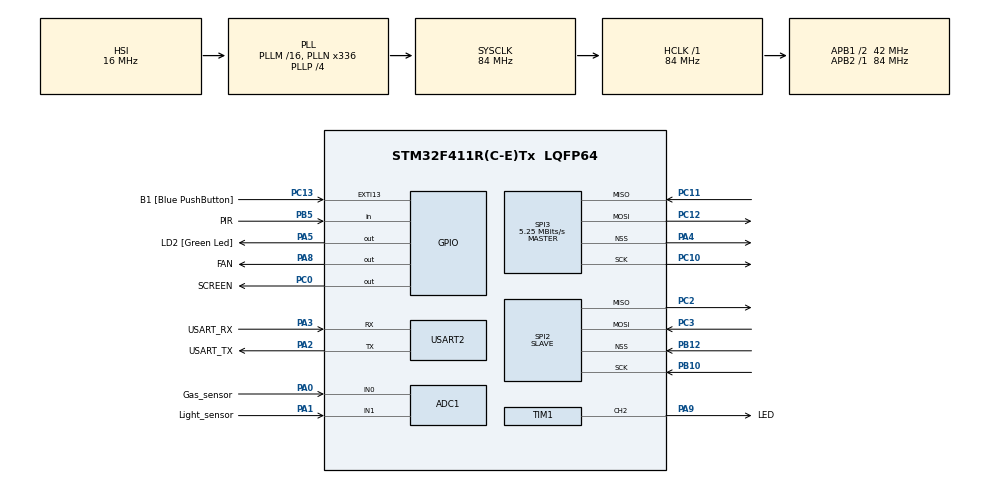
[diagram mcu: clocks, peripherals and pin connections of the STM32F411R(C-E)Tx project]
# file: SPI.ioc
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ADC1.Channel-0\#ChannelRegularConversion=ADC_CHANNEL_0
ADC1.Channel-1\#ChannelRegularConversion=ADC_CHANNEL_1
ADC1.DiscontinuousConvMode=ENABLE
ADC1.NbrOfConversion=2
ADC1.NbrOfConversionFlag=1
ADC1.Rank-0\#ChannelRegularConversion=1
ADC1.Rank-1\#ChannelRegularConversion=2
ADC1.SamplingTime-0\#ChannelRegularConversion=ADC_SAMPLETIME_3CYCLES
ADC1.SamplingTime-1\#ChannelRegularConversion=ADC_SAMPLETIME_3CYCLES
ADC1.ScanConvMode=ENABLE
ADC1.master=1
Mcu.Family=STM32F4
Mcu.Name=STM32F411R(C-E)Tx
Mcu.Package=LQFP64
NVIC.ADC_IRQn=true\:0\:0\:false\:false\:true\:true\:true\:true
NVIC.EXTI15_10_IRQn=true\:0\:0\:false\:false\:true\:true\:true\:true
NVIC.PriorityGroup=NVIC_PRIORITYGROUP_0
NVIC.SPI2_IRQn=true\:0\:0\:false\:false\:true\:true\:true\:true
NVIC.SPI3_IRQn=true\:0\:0\:false\:false\:true\:true\:true\:true
NVIC.TIM3_IRQn=true\:0\:0\:false\:false\:true\:true\:true\:true
NVIC.USART2_IRQn=true\:0\:0\:false\:false\:true\:true\:true\:true
PA0-WKUP.GPIO_Label=Gas_sensor
PA0-WKUP.Signal=ADCx_IN0
PA1.GPIO_Label=Light_sensor
PA1.Signal=ADCx_IN1
PA13.GPIO_Label=TMS
PA13.Mode=Serial_Wire
PA13.Signal=SYS_JTMS-SWDIO
PA14.GPIO_Label=TCK
PA14.Mode=Serial_Wire
PA14.Signal=SYS_JTCK-SWCLK
PA2.GPIO_Label=USART_TX
PA2.Mode=Asynchronous
PA2.Signal=USART2_TX
PA3.GPIO_Label=USART_RX
PA3.Mode=Asynchronous
PA3.Signal=USART2_RX
PA4.Mode=NSS_Signal_Hard_Output
PA4.Signal=SPI3_NSS
PA5.GPIO_Label=LD2 [Green Led]
PA5.Signal=GPIO_Output
PA8.GPIO_Label=FAN
PA8.Signal=GPIO_Output
PA9.GPIO_Label=LED
PA9.Signal=S_TIM1_CH2
PB10.Mode=Full_Duplex_Slave
PB10.Signal=SPI2_SCK
PB12.Mode=NSS_Signal_Hard_Input
PB12.Signal=SPI2_NSS
PB3.GPIO_Label=SWO
PB3.Signal=SYS_JTDO-SWO
PB5.GPIO_Label=PIR
PB5.GPIO_PuPd=GPIO_NOPULL
PB5.Signal=GPIO_Input
PC0.GPIO_Label=SCREEN
PC0.Signal=GPIO_Output
PC10.Mode=Full_Duplex_Master
PC10.Signal=SPI3_SCK
PC11.Mode=Full_Duplex_Master
PC11.Signal=SPI3_MISO
PC12.Mode=Full_Duplex_Master
PC12.Signal=SPI3_MOSI
PC13-ANTI_TAMP.GPIO_Label=B1 [Blue PushButton]
PC13-ANTI_TAMP.GPIO_ModeDefaultEXTI=GPIO_MODE_IT_FALLING
PC13-ANTI_TAMP.Signal=GPXTI13
PC14-OSC32_IN.Mode=LSE-External-Oscillator
PC14-OSC32_IN.Signal=RCC_OSC32_IN
PC15-OSC32_OUT.Mode=LSE-External-Oscillator
PC15-OSC32_OUT.Signal=RCC_OSC32_OUT
PC2.Mode=Full_Duplex_Slave
PC2.Signal=SPI2_MISO
PC3.Mode=Full_Duplex_Slave
PC3.Signal=SPI2_MOSI
PH0\ -\ OSC_IN.Mode=HSE-External-Clock-Source
PH0\ -\ OSC_IN.Signal=RCC_OSC_IN
PH1\ -\ OSC_OUT.Mode=HSE-External-Clock-Source
PH1\ -\ OSC_OUT.Signal=RCC_OSC_OUT
ProjectManager.HeapSize=0x200
ProjectManager.StackSize=0x400
ProjectManager.TargetToolchain=STM32CubeIDE
RCC.48MHZClocksFreq_Value=84000000
RCC.AHBFreq_Value=84000000
RCC.APB1CLKDivider=RCC_HCLK_DIV2
RCC.APB1Freq_Value=42000000
RCC.APB1TimFreq_Value=84000000
RCC.APB2Freq_Value=84000000
RCC.APB2TimFreq_Value=84000000
RCC.CortexFreq_Value=84000000
RCC.FLatency-AdvancedSettings=FLASH_LATENCY_2
RCC.HCLKFreq_Value=84000000
RCC.HSE_VALUE=8000000
RCC.HSI_VALUE=16000000
RCC.PLLN=336
RCC.PLLP=RCC_PLLP_DIV4
RCC.SYSCLKFreq_VALUE=84000000
RCC.SYSCLKSource=RCC_SYSCLKSOURCE_PLLCLK
RCC.VCOOutputFreq_Value=336000000
SH.ADCx_IN0.0=ADC1_IN0,IN0
SH.ADCx_IN1.0=ADC1_IN1,IN1
SH.S_TIM1_CH2.0=TIM1_CH2,PWM Generation2 CH2
SPI2.CLKPhase=SPI_PHASE_2EDGE
SPI2.Direction=SPI_DIRECTION_2LINES
SPI2.Mode=SPI_MODE_SLAVE
SPI2.TIMode=SPI_TIMODE_DISABLE
SPI2.VirtualNSS=VM_NSSHARD
SPI2.VirtualType=VM_SLAVE
SPI3.BaudRatePrescaler=SPI_BAUDRATEPRESCALER_8
SPI3.CLKPhase=SPI_PHASE_2EDGE
SPI3.CalculateBaudRate=5.25 MBits/s
SPI3.Direction=SPI_DIRECTION_2LINES
SPI3.Mode=SPI_MODE_MASTER
SPI3.VirtualNSS=VM_NSSHARD
SPI3.VirtualType=VM_MASTER
TIM1.Channel-PWM\ Generation2\ CH2=TIM_CHANNEL_2
TIM1.Period=(10000/50)-1
TIM1.Prescaler=8400-1
TIM3.Period=2000-1
TIM3.Prescaler=8400-1
USART2.VirtualMode=VM_ASYNC
VP_TIM3_VS_ClockSourceINT.Mode=Internal
board=NUCLEO-F411RE

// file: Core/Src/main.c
/* USER CODE BEGIN Header */
/**
  ******************************************************************************
  * @file           : main.c
  * @brief          : Main program body
  ******************************************************************************
  * @attention
  *
  * Copyright (c) 2024 STMicroelectronics.
  * All rights reserved.
  *
  * This software is licensed under terms that can be found in the LICENSE file
  * in the root directory of this software component.
  * If no LICENSE file comes with this software, it is provided AS-IS.
  *
  ******************************************************************************
  */
/* USER CODE END Header */
#include "main.h"

ADC_HandleTypeDef hadc1;

SPI_HandleTypeDef hspi2;
SPI_HandleTypeDef hspi3;

TIM_HandleTypeDef htim1;
TIM_HandleTypeDef htim3;

UART_HandleTypeDef huart2;

/* USER CODE BEGIN PV */
char uart_buf[60];
uint16_t adcVal[2];
uint16_t Val;
//char uart_buf2[50];
int val = 0;
int led_val = 0;
int idx;
int dr = 0;
/* USER CODE END PV */

void SystemClock_Config(void);
static void MX_GPIO_Init(void);
static void MX_USART2_UART_Init(void);
static void MX_SPI2_Init(void);
static void MX_SPI3_Init(void);
static void MX_ADC1_Init(void);
static void MX_TIM3_Init(void);
static void MX_TIM1_Init(void);

/* USER CODE BEGIN 0 */
uint8_t TxData=0;
uint8_t RxDataBuf = 0;
uint8_t RxData=0;
uint8_t gas=0;
uint8_t light=0;
int cnt = 0;
//void HAL_SPI_RxCpltCallback(SPI_HandleTypeDef *hspi)
//{
//	RxDataBuf = RxData;
//	RxData = 0;
//	snprintf(uart_buf, sizeof(uart_buf), "get_data : %x, send_data : %x \n\r", RxDataBuf, TxData);
//	HAL_UART_Transmit(&huart2, (uint8_t *)uart_buf, strlen(uart_buf), 1000);
//	HAL_SPI_Receive_IT(&hspi2, &RxData, 1);
//
//}
//void HAL_SPI_TxCpltCallback(SPI_HandleTypeDef *hspi)
//{
//	//RxData = RxData + 7;
//	snprintf(uart_buf, sizeof(uart_buf), "get_data : %x, send_data : %x \n\r", RxData, TxData);
//	HAL_UART_Transmit(&huart2, (uint8_t *)uart_buf, strlen(uart_buf), 1000);
//	HAL_SPI_Transmit_IT(&hspi2, &TxData, 1);
//}

void HAL_SPI_TxRxCpltCallback(SPI_HandleTypeDef *hspi)
{
	//RxData = RxData + 7;
//	snprintf(uart_buf, sizeof(uart_buf), "get_data : %x, send_data : %x \n\r", RxData, TxData);
//	HAL_UART_Transmit(&huart2, (uint8_t *)uart_buf, strlen(uart_buf), 1000);
	HAL_SPI_TransmitReceive_IT(&hspi2, &TxData, &RxData,1);
	dr = (RxData >> 4);
	htim1.Instance->CCR2 = dr * 10; // dr : 0 ~ 9,  10 ~ 19
	FAN_motor();
	Screen();
//	TxData++;
}

void HAL_ADC_ConvCpltCallback(ADC_HandleTypeDef *hadc)
{
	if(hadc->Instance == hadc1.Instance) {

		Val = HAL_ADC_GetValue(&hadc1);
		if(idx == 0)
		{
			adcVal[0] = Val;
		}
		else
		{
			adcVal[1] = Val;
		}
		gas = (adcVal[0] > 3600) ? 7 : (adcVal[0] < 1200) ? 0 :(((adcVal[0] - 400) / 400) - 1);
		light = (adcVal[1] > 3000) ? 0 : (adcVal[1] > 1500) ? (15 - (((adcVal[1] - 1500) / 100))) : 15;
		TxData =  (light << 4) + (gas << 1) + val;

		if(++idx == 2) idx = 0;
	}
}

void HAL_TIM_PeriodElapsedCallback(TIM_HandleTypeDef *htim)
{
	HAL_ADC_Start_IT(&hadc1);
}

//void PIR_sensor()
//{
//	val = HAL_GPIO_ReadPin(PIR_GPIO_Port, PIR_Pin);
//	if(val == 1) // No detected
//	{
//		snprintf(uart_buf2, sizeof(uart_buf2), "No Detected : %d\n\r", val);
//		HAL_UART_Transmit_IT(&huart2, (uint8_t *)uart_buf2, strlen(uart_buf2));
//	}
//	else // Something Detected
//	{
//		snprintf(uart_buf2, sizeof(uart_buf2), "Something Detected : %d\n\r", val);
//		HAL_UART_Transmit_IT(&huart2, (uint8_t *)uart_buf2, strlen(uart_buf2));
//	}
//}

void FAN_motor()
{
	if((RxData & 0b00000001))
	{
		HAL_GPIO_WritePin(FAN_GPIO_Port, FAN_Pin, 1);
	}
	else
	{
		HAL_GPIO_WritePin(FAN_GPIO_Port, FAN_Pin, 0);
	}
}

void Screen()
{
	if((RxData & 0b00000010))
	{
		HAL_GPIO_WritePin(SCREEN_GPIO_Port, SCREEN_Pin , 1);
	}
	else
	{
		HAL_GPIO_WritePin(SCREEN_GPIO_Port, SCREEN_Pin , 0);
	}
}

/* USER CODE END 0 */

int main(void)
{

  /* MCU Configuration--------------------------------------------------------*/

  /* Reset of all peripherals, Initializes the Flash interface and the Systick. */
  HAL_Init();

  /* Configure the system clock */
  SystemClock_Config();

  /* Initialize all configured peripherals */
  MX_GPIO_Init();
  MX_USART2_UART_Init();
  MX_SPI2_Init();
  MX_SPI3_Init();
  MX_ADC1_Init();
  MX_TIM3_Init();
  MX_TIM1_Init();
  /* USER CODE BEGIN 2 */

  char test_data[50] = "1234567";
  char get_data[50];
  /* USER CODE END 2 */

  /* Infinite loop */
  /* USER CODE BEGIN WHILE */
  ProgramStart("SPI");
  //HAL_SPI_Receive_IT(&hspi2, &RxData, 1);
//  HAL_SPI_Transmit_IT(&hspi2, &TxData, 1);
  HAL_SPI_TransmitReceive_IT(&hspi2, &TxData, &RxData,1);
//  HAL_GPIO_WritePin(FAN_GPIO_Port, FAN_Pin, 0);
  HAL_TIM_Base_Start_IT(&htim3);
  HAL_TIM_PWM_Start(&htim1, TIM_CHANNEL_2);
//  TxData = 0xaa;
  while (1)
  {
    /* USER CODE END WHILE */

    /* USER CODE BEGIN 3 */
	  //TxData = TxData +1;
//	  HAL_SPI_Transmit(&hspi2, &TxData, 1, 10);

	  //HAL_SPI_Receive(&hspi2, &RxData, 1, 10);
//	  HAL_SPI_TransmitReceive(&hspi2, &TxData, &RxData, (uint16_t)1, (uint32_t) 10);
	  //snprintf(uart_buf2, sizeof(uart_buf2), "No Detected : %d\n\r", val);
	  //HAL_UART_Transmit_IT(&huart2, (uint8_t *)uart_buf2, strlen(uart_buf2));
	  //HAL_SPI_Transmit(&hspi3, &TxData, 1,10);
//	  dr = (RxData >> 4);
//	  htim1.Instance->CCR2 = dr + 10; // dr : 0 ~ 9,  10 ~ 19
//	  int sa = dr * 18; //Servo Angle

	  val = HAL_GPIO_ReadPin(PIR_GPIO_Port, PIR_Pin);
	  led_val = HAL_GPIO_ReadPin(SCREEN_GPIO_Port, SCREEN_Pin);
	  if (cnt++ >= 10)
	  {
		  snprintf(uart_buf, sizeof(uart_buf), "get_data : %02x, send_data : %02x \n\r", RxData, TxData);
		  HAL_UART_Transmit(&huart2, (uint8_t *)uart_buf, strlen(uart_buf), 1000);
		  snprintf(uart_buf, sizeof(uart_buf), "Light : %d,  Gas : %01x,  PIR : %01x \n\r", light, gas, val);
		  HAL_UART_Transmit(&huart2, (uint8_t *)uart_buf, strlen(uart_buf), 1000);
		  snprintf(uart_buf, sizeof(uart_buf), "Light Detected : %d  Gas Detected : %d,\n\r", adcVal[1], adcVal[0]);
		  HAL_UART_Transmit(&huart2, (uint8_t *)uart_buf, strlen(uart_buf), 1000);
		  snprintf(uart_buf, sizeof(uart_buf), "LED : %d, Fan : %d, SCREEN : %d\n\r",dr , (RxData & 0b00000001), led_val);
		  HAL_UART_Transmit(&huart2, (uint8_t *)uart_buf, strlen(uart_buf), 1000);
		  cnt = 0;
	  }
	  //snprintf(uart_buf, sizeof(uart_buf), "get_data : %b, send_data : %b \n\r", get_data, test_data);
	  //HAL_Delay(4000);
	  //HAL_Delay(300);

//	  FAN_motor();
//	  PIR_sensor();
//	  Screen();
	  HAL_Delay(100);

  }

  /* USER CODE END 3 */
}

void SystemClock_Config(void)
{
  RCC_OscInitTypeDef RCC_OscInitStruct = {0};
  RCC_ClkInitTypeDef RCC_ClkInitStruct = {0};

  /** Configure the main internal regulator output voltage
  */
  __HAL_RCC_PWR_CLK_ENABLE();
  __HAL_PWR_VOLTAGESCALING_CONFIG(PWR_REGULATOR_VOLTAGE_SCALE1);

  /** Initializes the RCC Oscillators according to the specified parameters
  * in the RCC_OscInitTypeDef structure.
  */
  RCC_OscInitStruct.OscillatorType = RCC_OSCILLATORTYPE_HSI;
  RCC_OscInitStruct.HSIState = RCC_HSI_ON;
  RCC_OscInitStruct.HSICalibrationValue = RCC_HSICALIBRATION_DEFAULT;
  RCC_OscInitStruct.PLL.PLLState = RCC_PLL_ON;
  RCC_OscInitStruct.PLL.PLLSource = RCC_PLLSOURCE_HSI;
  RCC_OscInitStruct.PLL.PLLM = 16;
  RCC_OscInitStruct.PLL.PLLN = 336;
  RCC_OscInitStruct.PLL.PLLP = RCC_PLLP_DIV4;
  RCC_OscInitStruct.PLL.PLLQ = 4;
  if (HAL_RCC_OscConfig(&RCC_OscInitStruct) != HAL_OK)
  {
    Error_Handler();
  }

  /** Initializes the CPU, AHB and APB buses clocks
  */
  RCC_ClkInitStruct.ClockType = RCC_CLOCKTYPE_HCLK|RCC_CLOCKTYPE_SYSCLK
                              |RCC_CLOCKTYPE_PCLK1|RCC_CLOCKTYPE_PCLK2;
  RCC_ClkInitStruct.SYSCLKSource = RCC_SYSCLKSOURCE_PLLCLK;
  RCC_ClkInitStruct.AHBCLKDivider = RCC_SYSCLK_DIV1;
  RCC_ClkInitStruct.APB1CLKDivider = RCC_HCLK_DIV2;
  RCC_ClkInitStruct.APB2CLKDivider = RCC_HCLK_DIV1;

  if (HAL_RCC_ClockConfig(&RCC_ClkInitStruct, FLASH_LATENCY_2) != HAL_OK)
  {
    Error_Handler();
  }
}

static void MX_ADC1_Init(void)
{

  ADC_ChannelConfTypeDef sConfig = {0};

  /** Configure the global features of the ADC (Clock, Resolution, Data Alignment and number of conversion)
  */
  hadc1.Instance = ADC1;
  hadc1.Init.ClockPrescaler = ADC_CLOCK_SYNC_PCLK_DIV4;
  hadc1.Init.Resolution = ADC_RESOLUTION_12B;
  hadc1.Init.ScanConvMode = ENABLE;
  hadc1.Init.ContinuousConvMode = DISABLE;
  hadc1.Init.DiscontinuousConvMode = ENABLE;
  hadc1.Init.NbrOfDiscConversion = 1;
  hadc1.Init.ExternalTrigConvEdge = ADC_EXTERNALTRIGCONVEDGE_NONE;
  hadc1.Init.ExternalTrigConv = ADC_SOFTWARE_START;
  hadc1.Init.DataAlign = ADC_DATAALIGN_RIGHT;
  hadc1.Init.NbrOfConversion = 2;
  hadc1.Init.DMAContinuousRequests = DISABLE;
  hadc1.Init.EOCSelection = ADC_EOC_SINGLE_CONV;
  if (HAL_ADC_Init(&hadc1) != HAL_OK)
  {
    Error_Handler();
  }

  /** Configure for the selected ADC regular channel its corresponding rank in the sequencer and its sample time.
  */
  sConfig.Channel = ADC_CHANNEL_0;
  sConfig.Rank = 1;
  sConfig.SamplingTime = ADC_SAMPLETIME_3CYCLES;
  if (HAL_ADC_ConfigChannel(&hadc1, &sConfig) != HAL_OK)
  {
    Error_Handler();
  }

  /** Configure for the selected ADC regular channel its corresponding rank in the sequencer and its sample time.
  */
  sConfig.Channel = ADC_CHANNEL_1;
  sConfig.Rank = 2;
  if (HAL_ADC_ConfigChannel(&hadc1, &sConfig) != HAL_OK)
  {
    Error_Handler();
  }

}

static void MX_SPI2_Init(void)
{

  /* SPI2 parameter configuration*/
  hspi2.Instance = SPI2;
  hspi2.Init.Mode = SPI_MODE_SLAVE;
  hspi2.Init.Direction = SPI_DIRECTION_2LINES;
  hspi2.Init.DataSize = SPI_DATASIZE_8BIT;
  hspi2.Init.CLKPolarity = SPI_POLARITY_LOW;
  hspi2.Init.CLKPhase = SPI_PHASE_2EDGE;
  hspi2.Init.NSS = SPI_NSS_HARD_INPUT;
  hspi2.Init.FirstBit = SPI_FIRSTBIT_MSB;
  hspi2.Init.TIMode = SPI_TIMODE_DISABLE;
  hspi2.Init.CRCCalculation = SPI_CRCCALCULATION_DISABLE;
  hspi2.Init.CRCPolynomial = 10;
  if (HAL_SPI_Init(&hspi2) != HAL_OK)
  {
    Error_Handler();
  }

}

static void MX_SPI3_Init(void)
{

  /* SPI3 parameter configuration*/
  hspi3.Instance = SPI3;
  hspi3.Init.Mode = SPI_MODE_MASTER;
  hspi3.Init.Direction = SPI_DIRECTION_2LINES;
  hspi3.Init.DataSize = SPI_DATASIZE_8BIT;
  hspi3.Init.CLKPolarity = SPI_POLARITY_LOW;
  hspi3.Init.CLKPhase = SPI_PHASE_2EDGE;
  hspi3.Init.NSS = SPI_NSS_HARD_OUTPUT;
  hspi3.Init.BaudRatePrescaler = SPI_BAUDRATEPRESCALER_8;
  hspi3.Init.FirstBit = SPI_FIRSTBIT_MSB;
  hspi3.Init.TIMode = SPI_TIMODE_DISABLE;
  hspi3.Init.CRCCalculation = SPI_CRCCALCULATION_DISABLE;
  hspi3.Init.CRCPolynomial = 10;
  if (HAL_SPI_Init(&hspi3) != HAL_OK)
  {
    Error_Handler();
  }

}

static void MX_TIM1_Init(void)
{

  TIM_MasterConfigTypeDef sMasterConfig = {0};
  TIM_OC_InitTypeDef sConfigOC = {0};
  TIM_BreakDeadTimeConfigTypeDef sBreakDeadTimeConfig = {0};

  htim1.Instance = TIM1;
  htim1.Init.Prescaler = 8400-1;
  htim1.Init.CounterMode = TIM_COUNTERMODE_UP;
  htim1.Init.Period = (10000/50)-1;
  htim1.Init.ClockDivision = TIM_CLOCKDIVISION_DIV1;
  htim1.Init.RepetitionCounter = 0;
  htim1.Init.AutoReloadPreload = TIM_AUTORELOAD_PRELOAD_DISABLE;
  if (HAL_TIM_PWM_Init(&htim1) != HAL_OK)
  {
    Error_Handler();
  }
  sMasterConfig.MasterOutputTrigger = TIM_TRGO_RESET;
  sMasterConfig.MasterSlaveMode = TIM_MASTERSLAVEMODE_DISABLE;
  if (HAL_TIMEx_MasterConfigSynchronization(&htim1, &sMasterConfig) != HAL_OK)
  {
    Error_Handler();
  }
  sConfigOC.OCMode = TIM_OCMODE_PWM1;
  sConfigOC.Pulse = 0;
  sConfigOC.OCPolarity = TIM_OCPOLARITY_HIGH;
  sConfigOC.OCNPolarity = TIM_OCNPOLARITY_HIGH;
  sConfigOC.OCFastMode = TIM_OCFAST_DISABLE;
  sConfigOC.OCIdleState = TIM_OCIDLESTATE_RESET;
  sConfigOC.OCNIdleState = TIM_OCNIDLESTATE_RESET;
  if (HAL_TIM_PWM_ConfigChannel(&htim1, &sConfigOC, TIM_CHANNEL_2) != HAL_OK)
  {
    Error_Handler();
  }
  sBreakDeadTimeConfig.OffStateRunMode = TIM_OSSR_DISABLE;
  sBreakDeadTimeConfig.OffStateIDLEMode = TIM_OSSI_DISABLE;
  sBreakDeadTimeConfig.LockLevel = TIM_LOCKLEVEL_OFF;
  sBreakDeadTimeConfig.DeadTime = 0;
  sBreakDeadTimeConfig.BreakState = TIM_BREAK_DISABLE;
  sBreakDeadTimeConfig.BreakPolarity = TIM_BREAKPOLARITY_HIGH;
  sBreakDeadTimeConfig.AutomaticOutput = TIM_AUTOMATICOUTPUT_DISABLE;
  if (HAL_TIMEx_ConfigBreakDeadTime(&htim1, &sBreakDeadTimeConfig) != HAL_OK)
  {
    Error_Handler();
  }
  HAL_TIM_MspPostInit(&htim1);

}

static void MX_TIM3_Init(void)
{

  TIM_ClockConfigTypeDef sClockSourceConfig = {0};
  TIM_MasterConfigTypeDef sMasterConfig = {0};

  htim3.Instance = TIM3;
  htim3.Init.Prescaler = 8400-1;
  htim3.Init.CounterMode = TIM_COUNTERMODE_UP;
  htim3.Init.Period = 2000-1;
  htim3.Init.ClockDivision = TIM_CLOCKDIVISION_DIV1;
  htim3.Init.AutoReloadPreload = TIM_AUTORELOAD_PRELOAD_DISABLE;
  if (HAL_TIM_Base_Init(&htim3) != HAL_OK)
  {
    Error_Handler();
  }
  sClockSourceConfig.ClockSource = TIM_CLOCKSOURCE_INTERNAL;
  if (HAL_TIM_ConfigClockSource(&htim3, &sClockSourceConfig) != HAL_OK)
  {
    Error_Handler();
  }
  sMasterConfig.MasterOutputTrigger = TIM_TRGO_RESET;
  sMasterConfig.MasterSlaveMode = TIM_MASTERSLAVEMODE_DISABLE;
  if (HAL_TIMEx_MasterConfigSynchronization(&htim3, &sMasterConfig) != HAL_OK)
  {
    Error_Handler();
  }

}

static void MX_USART2_UART_Init(void)
{

  huart2.Instance = USART2;
  huart2.Init.BaudRate = 115200;
  huart2.Init.WordLength = UART_WORDLENGTH_8B;
  huart2.Init.StopBits = UART_STOPBITS_1;
  huart2.Init.Parity = UART_PARITY_NONE;
  huart2.Init.Mode = UART_MODE_TX_RX;
  huart2.Init.HwFlowCtl = UART_HWCONTROL_NONE;
  huart2.Init.OverSampling = UART_OVERSAMPLING_16;
  if (HAL_UART_Init(&huart2) != HAL_OK)
  {
    Error_Handler();
  }

}

static void MX_GPIO_Init(void)
{
  GPIO_InitTypeDef GPIO_InitStruct = {0};

  /* GPIO Ports Clock Enable */
  __HAL_RCC_GPIOC_CLK_ENABLE();
  __HAL_RCC_GPIOH_CLK_ENABLE();
  __HAL_RCC_GPIOA_CLK_ENABLE();
  __HAL_RCC_GPIOB_CLK_ENABLE();

  /*Configure GPIO pin Output Level */
  HAL_GPIO_WritePin(SCREEN_GPIO_Port, SCREEN_Pin, GPIO_PIN_RESET);

  /*Configure GPIO pin Output Level */
  HAL_GPIO_WritePin(GPIOA, LD2_Pin|FAN_Pin, GPIO_PIN_RESET);

  /*Configure GPIO pin : B1_Pin */
  GPIO_InitStruct.Pin = B1_Pin;
  GPIO_InitStruct.Mode = GPIO_MODE_IT_FALLING;
  GPIO_InitStruct.Pull = GPIO_NOPULL;
  HAL_GPIO_Init(B1_GPIO_Port, &GPIO_InitStruct);

  /*Configure GPIO pin : SCREEN_Pin */
  GPIO_InitStruct.Pin = SCREEN_Pin;
  GPIO_InitStruct.Mode = GPIO_MODE_OUTPUT_PP;
  GPIO_InitStruct.Pull = GPIO_NOPULL;
  GPIO_InitStruct.Speed = GPIO_SPEED_FREQ_LOW;
  HAL_GPIO_Init(SCREEN_GPIO_Port, &GPIO_InitStruct);

  /*Configure GPIO pins : LD2_Pin FAN_Pin */
  GPIO_InitStruct.Pin = LD2_Pin|FAN_Pin;
  GPIO_InitStruct.Mode = GPIO_MODE_OUTPUT_PP;
  GPIO_InitStruct.Pull = GPIO_NOPULL;
  GPIO_InitStruct.Speed = GPIO_SPEED_FREQ_LOW;
  HAL_GPIO_Init(GPIOA, &GPIO_InitStruct);

  /*Configure GPIO pin : PIR_Pin */
  GPIO_InitStruct.Pin = PIR_Pin;
  GPIO_InitStruct.Mode = GPIO_MODE_INPUT;
  GPIO_InitStruct.Pull = GPIO_NOPULL;
  HAL_GPIO_Init(PIR_GPIO_Port, &GPIO_InitStruct);

  /* EXTI interrupt init*/
  HAL_NVIC_SetPriority(EXTI15_10_IRQn, 0, 0);
  HAL_NVIC_EnableIRQ(EXTI15_10_IRQn);

}

void Error_Handler(void)
{
  __disable_irq();
  while (1)
  {
  }
}
